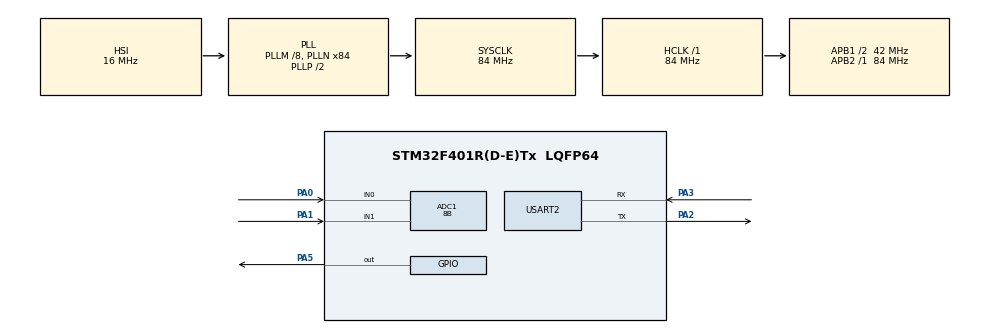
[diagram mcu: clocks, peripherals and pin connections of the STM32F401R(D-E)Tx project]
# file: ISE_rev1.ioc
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ADC1.Channel-7\#ChannelRegularConversion=ADC_CHANNEL_0
ADC1.Channel-8\#ChannelRegularConversion=ADC_CHANNEL_1
ADC1.DiscontinuousConvMode=ENABLE
ADC1.ExternalTrigConv=ADC_EXTERNALTRIGCONV_T3_TRGO
ADC1.NbrOfConversion=2
ADC1.NbrOfConversionFlag=1
ADC1.NbrOfDiscConversion=1
ADC1.Rank-7\#ChannelRegularConversion=1
ADC1.Rank-8\#ChannelRegularConversion=2
ADC1.Resolution=ADC_RESOLUTION_8B
ADC1.SamplingTime-7\#ChannelRegularConversion=ADC_SAMPLETIME_15CYCLES
ADC1.SamplingTime-8\#ChannelRegularConversion=ADC_SAMPLETIME_15CYCLES
ADC1.master=1
Mcu.Family=STM32F4
Mcu.Name=STM32F401R(D-E)Tx
Mcu.Package=LQFP64
NVIC.ADC_IRQn=true\:0\:0\:true\:false\:true\:true\:true
NVIC.PriorityGroup=NVIC_PRIORITYGROUP_1
NVIC.USART2_IRQn=true\:1\:0\:true\:false\:true\:true\:true
PA0-WKUP.Signal=ADCx_IN0
PA1.Signal=ADCx_IN1
PA2.Mode=Asynchronous
PA2.Signal=USART2_TX
PA3.Mode=Asynchronous
PA3.Signal=USART2_RX
PA5.Signal=GPIO_Output
ProjectManager.HeapSize=0x200
ProjectManager.StackSize=0x400
ProjectManager.TargetToolchain=STM32CubeIDE
RCC.48MHZClocksFreq_Value=24000000
RCC.AHBFreq_Value=84000000
RCC.APB1CLKDivider=RCC_HCLK_DIV2
RCC.APB1Freq_Value=42000000
RCC.APB1TimFreq_Value=84000000
RCC.APB2Freq_Value=84000000
RCC.APB2TimFreq_Value=84000000
RCC.CortexFreq_Value=84000000
RCC.HCLKFreq_Value=84000000
RCC.HSE_VALUE=8000000
RCC.HSI_VALUE=16000000
RCC.LSE_VALUE=32768
RCC.PLLM=8
RCC.PLLN=84
RCC.PLLQ=7
RCC.SYSCLKFreq_VALUE=84000000
RCC.SYSCLKSource=RCC_SYSCLKSOURCE_PLLCLK
RCC.VCOOutputFreq_Value=168000000
SH.ADCx_IN0.0=ADC1_IN0,IN0
SH.ADCx_IN1.0=ADC1_IN1,IN1
TIM3.Period=500
TIM3.Prescaler=168
TIM3.TIM_MasterOutputTrigger=TIM_TRGO_UPDATE
TIM3.TIM_MasterSlaveMode=TIM_MASTERSLAVEMODE_ENABLE
USART2.VirtualMode=VM_ASYNC
VP_TIM3_VS_ClockSourceINT.Mode=Internal
board=NUCLEO-F401RE

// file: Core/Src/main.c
/* USER CODE BEGIN Header */
/**
  ******************************************************************************
  * @file           : main.c
  * @brief          : Main program body
  ******************************************************************************
  * @attention
  *
  * <h2><center>&copy; Copyright (c) 2021 STMicroelectronics.
  * All rights reserved.</center></h2>
  *
  * This software component is licensed by ST under BSD 3-Clause license,
  * the "License"; You may not use this file except in compliance with the
  * License. You may obtain a copy of the License at:
  *                        opensource.org/licenses/BSD-3-Clause
  *
  ******************************************************************************
  */
/* USER CODE END Header */
#include "main.h"

/* USER CODE BEGIN Includes */
#include <stdio.h>
#include <string.h>
#include <stdint.h>
#include "transmission.h"
#include "reception.h"
#include "peripheral_configuration.h"
/* USER CODE END Includes */

ADC_HandleTypeDef hadc1;

TIM_HandleTypeDef htim3;

UART_HandleTypeDef huart2;

/* USER CODE BEGIN PV */
// Variabili Globali

// Buffer circolare per il canale 0
uint8_t circular_buffer0[MAX_SIZE_BUFFER];

// Buffer circolare per il canale 1
uint8_t circular_buffer1[MAX_SIZE_BUFFER];

// Variabile per il singolo byte ricevuto da seriale
uint8_t data_received;

// Indice per il controllo del canale appena convertito
int channel_index=0;

// Indice per la posizione del prossimo campione nel buffer 0
int sample_index0=0;

// Indice per la posizione del prossimo campione nel buffer 1
int sample_index1=0;

// Variabile per il trigger level (inizializzazione al valore di default)
int trigger_level=128;

// Variabile per il trigger type (inizializzazione al valore di default = AUTO)
int trigger_type=0;

// Variabile per il sampling time (inizializzazione al valore di default = 1 ms)
int sampling_time=1000000;

/*VARIABILI INTERRUPT ADC*/

// Indice che comunica quando iniziare la trasmissione (quando sono stati presi 255 campioni dopo aver trovato il trigger level)
int cntdown_transmission_trigger_level=256;

// Indice che comunica quando iniziare la trasmissione (quando sono stati presi 512 campioni (caso in cui non viene superato il trigger level e siamo in AUTO))
int cntdown_transmission_hz_sweep=256;

// Variabile di appoggio per l'identificazione della singola trasmissione (SINGLE MODE)
int one_shot_transmission=0;

// Flag per capire se il dato è stato trasmesso correttamente
int correctlySentData=0;

// Contatore per l'horizontal sweep time
int hz_sweep_counter=0;

// Variabile per controllare se ho superato il trigger level partendo da un valore inferiore ad esso (inizializzata a 256 per far si che all'accensione non sia superato automaticamente il trigger level per un valore campionato superiore)
int previous_value=256;

// Flag per il controllo della condizione di trigger dovuta al superamento dell'horizontal sweep time
int flag_hz_sweep=0;

// Flag per il controllo della condizione di trigger dovuta al superamento del trigger level
int flag_trigger_level=0;

// Acknowledge per avvisare il main loop del riempimento del buffer in seguito al superamento del trigger level
int ack_trigger_level=0;

// Acknowledge per avvisare il main loop del riempimento del buffer in seguito al raggiungimento dell'horizontal sweep
int ack_hz_sweep=0;

// Struttura dati utilizzata per la ricezione
struct_datiR reception_parameters;
/* USER CODE END PV */

void SystemClock_Config(void);
static void MX_GPIO_Init(void);
static void MX_ADC1_Init(void);
static void MX_USART2_UART_Init(void);
static void MX_TIM3_Init(void);

int main(void)
{

  /* MCU Configuration--------------------------------------------------------*/

  /* Reset of all peripherals, Initializes the Flash interface and the Systick. */
  HAL_Init();

  /* Configure the system clock */
  SystemClock_Config();

  /* Initialize all configured peripherals */
  MX_GPIO_Init();
  MX_ADC1_Init();
  MX_USART2_UART_Init();
  MX_TIM3_Init();
  /* USER CODE BEGIN 2 */
  // Comando per far partire l'ADC in modalita' interrupt
  HAL_ADC_Start_IT(&hadc1);
  // Comando per far partire il timer 3 per la generazione del trigger per l'ADC
  HAL_TIM_Base_Start(&htim3); //faccio partire il timer

  // Comando per l'impostazione della variabile di ricezione per la trasmissione seriale
  HAL_UART_Receive_IT(&huart2, &data_received, 1);

  // Funzione di inizializzazione per la struttura precedentemente dichiarata
  init_function(&reception_parameters);

  /* USER CODE END 2 */

  /* Infinite loop */
  while (1)
  {

    /* USER CODE BEGIN 3 */

      //Switch utilizzato per la trasmissione
      switch (trigger_type)
      {

      /*MODALITA AUTO*/
      case 0:
    	  // Controllo se è arrivato l'ack dovuto al trigger level dall'ADC
          if(ack_trigger_level==1)
              // Trasmetto se il countdown del trigger level è arrivato a '0'
          {

              /*DISABILITO IL TIMER DURANTE LA TRASMISSIONE*/
              HAL_TIM_Base_Stop(&htim3);

              /*EFFETTUO LA TRASMISSIONE DEL BUFFER*/
              buffer_transmission(&huart2, circular_buffer0, circular_buffer1, &correctlySentData); //effettuo la trasmissione del buffer

              // Se vengo dalla modalità single, resetto il flag per la singola trasmissione
              one_shot_transmission=0;

              /*RIPRISTINO ACK TRIGGER LEVEL*/
              ack_trigger_level=0;

              sample_index0=0;
              sample_index1=0;

              // Reinizializzo il flag per la corretta trasmissione
              if(correctlySentData == 1)
              {
                  correctlySentData = 0;
              }

              /*FACCIO RIPARTIRE IL TIMER*/
              HAL_TIM_Base_Start(&htim3);
          }
          // Controllo se è arrivato l'ack dovuto al horizontal sweep dall'ADC
          else if(ack_hz_sweep==1)

          {
              /*DISABILITO IL TIMER DURANTE LA TRASMISSIONE*/
              HAL_TIM_Base_Stop(&htim3);

              /*EFFETTUO LA TRASMISSIONE DEL BUFFER*/
              buffer_transmission(&huart2, circular_buffer0, circular_buffer1, &correctlySentData); //effettuo la trasmissione del buffer

              // Se vengo dalla modalità single, resetto il flag per la singola trasmissione
              one_shot_transmission=0;

              /*RIPRISTINO ACK HORZIONTAL SWEEP*/
              ack_hz_sweep=0;

              sample_index0=0;
              sample_index1=0;

              // Reinizializzo il flag per la corretta trasmissione
              if(correctlySentData == 1)
              {
                  correctlySentData = 0;
              }

              /*FACCIO RIPARTIRE IL TIMER*/
              HAL_TIM_Base_Start(&htim3);
          }
          break;

      /*MODALITA NORMAL*/
      case 1:
    	  // Potendo arrivare qui dalla modalità AUTO, resettiamo l'eventuale ack derivato dall' horizontal sweep
          ack_hz_sweep=0;

          // Controllo se ho ricevuto un ack del trigger level dell'ADC
          if(ack_trigger_level==1)
          {
              /*DISABILITO IL TIMER DURANTE LA TRASMISSIONE*/
              HAL_TIM_Base_Stop(&htim3);

              /*EFFETTUO LA TRASMISSIONE DEL BUFFER*/
              buffer_transmission(&huart2, circular_buffer0, circular_buffer1, &correctlySentData); //effettuo la trasmissione del buffer

              // Se vengo dalla modalità single, resetto il flag per la singola trasmissione
              one_shot_transmission=0;

              /*RIPRISTINO ACK TRIGGER LEVEL*/
              ack_trigger_level=0;

              sample_index0=0;
              sample_index1=0;

              // Reinizializzo il flag per la corretta trasmissione
              if(correctlySentData == 1)
              {
                  correctlySentData = 0;
              }

              /*FACCIO RIPARTIRE IL TIMER*/
              HAL_TIM_Base_Start(&htim3);
          }
          break;

      case 2:
    	  // Potendo arrivare qui dalla modalità AUTO, resettiamo l'eventuale ack derivato dall' horizontal sweep
          ack_hz_sweep=0;

          // Controllo se è arrivato l'ack del trigger level e non ho ancora mai trasmesso il buffer
          if(ack_trigger_level==1 && one_shot_transmission==0)
          {
              /*DISABILITO IL TIMER DURANTE LA TRASMISSIONE*/
              HAL_TIM_Base_Stop(&htim3); //disabilito il timer per la trasmissione

              /*EFFETTUO LA TRASMISSIONE DEL BUFFER*/
              buffer_transmission(&huart2, circular_buffer0, circular_buffer1, &correctlySentData); //effettuo la trasmissione del buffer

              // Essendo in modalita' SINGLE, attivo questo flag per la singola trasmissione
              one_shot_transmission=1;

              /*RIPRISTINO ACK TRIGGER LEVEL*/
              ack_trigger_level=0;

              sample_index0=0;
              sample_index1=0;

              // Reinizializzo il flag per la corretta trasmissione
              if(correctlySentData == 1)
              {
                  correctlySentData = 0;
              }

              /*FACCIO RIPARTIRE IL TIMER*/
              HAL_TIM_Base_Start(&htim3);
          }
          break;
      case 3:

          // Se vengo dalla modalità single, resetto il flag per la singola trasmissione
          one_shot_transmission=0;

          break;
      default:
          break;
      }

      // Se ho riscontrato un errore, faccio togglar il led interno della scheda
      if(reception_parameters.check_error==1)
      {
          HAL_GPIO_TogglePin(GPIOA, GPIO_PIN_5);
          reception_parameters.check_error=0;
          reception_parameters.flag_asterisco=0;
          reception_parameters.flag_trigger=0;
          reception_parameters.flag_trigger_type=0;
          reception_parameters.flag_trigger_level=0;
          reception_parameters.flag_sampling=0;
          reception_parameters.flag_sampling_time=0;
          reception_parameters.returned_value=0;
          reception_parameters.index_hexadecimal=0;
          reception_parameters.flag_change_period=0;
      }
  }
  /* USER CODE END 3 */
}

void SystemClock_Config(void)
{
  RCC_OscInitTypeDef RCC_OscInitStruct = {0};
  RCC_ClkInitTypeDef RCC_ClkInitStruct = {0};

  /** Configure the main internal regulator output voltage
  */
  __HAL_RCC_PWR_CLK_ENABLE();
  __HAL_PWR_VOLTAGESCALING_CONFIG(PWR_REGULATOR_VOLTAGE_SCALE2);
  /** Initializes the RCC Oscillators according to the specified parameters
  * in the RCC_OscInitTypeDef structure.
  */
  RCC_OscInitStruct.OscillatorType = RCC_OSCILLATORTYPE_HSI;
  RCC_OscInitStruct.HSIState = RCC_HSI_ON;
  RCC_OscInitStruct.HSICalibrationValue = RCC_HSICALIBRATION_DEFAULT;
  RCC_OscInitStruct.PLL.PLLState = RCC_PLL_ON;
  RCC_OscInitStruct.PLL.PLLSource = RCC_PLLSOURCE_HSI;
  RCC_OscInitStruct.PLL.PLLM = 8;
  RCC_OscInitStruct.PLL.PLLN = 84;
  RCC_OscInitStruct.PLL.PLLP = RCC_PLLP_DIV2;
  RCC_OscInitStruct.PLL.PLLQ = 7;
  if (HAL_RCC_OscConfig(&RCC_OscInitStruct) != HAL_OK)
  {
    Error_Handler();
  }
  /** Initializes the CPU, AHB and APB buses clocks
  */
  RCC_ClkInitStruct.ClockType = RCC_CLOCKTYPE_HCLK|RCC_CLOCKTYPE_SYSCLK
                              |RCC_CLOCKTYPE_PCLK1|RCC_CLOCKTYPE_PCLK2;
  RCC_ClkInitStruct.SYSCLKSource = RCC_SYSCLKSOURCE_PLLCLK;
  RCC_ClkInitStruct.AHBCLKDivider = RCC_SYSCLK_DIV1;
  RCC_ClkInitStruct.APB1CLKDivider = RCC_HCLK_DIV2;
  RCC_ClkInitStruct.APB2CLKDivider = RCC_HCLK_DIV1;

  if (HAL_RCC_ClockConfig(&RCC_ClkInitStruct, FLASH_LATENCY_2) != HAL_OK)
  {
    Error_Handler();
  }
}

static void MX_ADC1_Init(void)
{

  ADC_ChannelConfTypeDef sConfig = {0};

  /** Configure the global features of the ADC (Clock, Resolution, Data Alignment and number of conversion)
  */
  hadc1.Instance = ADC1;
  hadc1.Init.ClockPrescaler = ADC_CLOCK_SYNC_PCLK_DIV4;
  hadc1.Init.Resolution = ADC_RESOLUTION_8B;
  hadc1.Init.ScanConvMode = ENABLE;
  hadc1.Init.ContinuousConvMode = DISABLE;
  hadc1.Init.DiscontinuousConvMode = ENABLE;
  hadc1.Init.NbrOfDiscConversion = 1;
  hadc1.Init.ExternalTrigConvEdge = ADC_EXTERNALTRIGCONVEDGE_RISING;
  hadc1.Init.ExternalTrigConv = ADC_EXTERNALTRIGCONV_T3_TRGO;
  hadc1.Init.DataAlign = ADC_DATAALIGN_RIGHT;
  hadc1.Init.NbrOfConversion = 2;
  hadc1.Init.DMAContinuousRequests = DISABLE;
  hadc1.Init.EOCSelection = ADC_EOC_SINGLE_CONV;
  if (HAL_ADC_Init(&hadc1) != HAL_OK)
  {
    Error_Handler();
  }
  /** Configure for the selected ADC regular channel its corresponding rank in the sequencer and its sample time.
  */
  sConfig.Channel = ADC_CHANNEL_0;
  sConfig.Rank = 1;
  sConfig.SamplingTime = ADC_SAMPLETIME_15CYCLES;
  if (HAL_ADC_ConfigChannel(&hadc1, &sConfig) != HAL_OK)
  {
    Error_Handler();
  }
  /** Configure for the selected ADC regular channel its corresponding rank in the sequencer and its sample time.
  */
  sConfig.Channel = ADC_CHANNEL_1;
  sConfig.Rank = 2;
  if (HAL_ADC_ConfigChannel(&hadc1, &sConfig) != HAL_OK)
  {
    Error_Handler();
  }

}

static void MX_TIM3_Init(void)
{

  TIM_ClockConfigTypeDef sClockSourceConfig = {0};
  TIM_MasterConfigTypeDef sMasterConfig = {0};

  htim3.Instance = TIM3;
  htim3.Init.Prescaler = 168;
  htim3.Init.CounterMode = TIM_COUNTERMODE_UP;
  htim3.Init.Period = 500;
  htim3.Init.ClockDivision = TIM_CLOCKDIVISION_DIV1;
  htim3.Init.AutoReloadPreload = TIM_AUTORELOAD_PRELOAD_DISABLE;
  if (HAL_TIM_Base_Init(&htim3) != HAL_OK)
  {
    Error_Handler();
  }
  sClockSourceConfig.ClockSource = TIM_CLOCKSOURCE_INTERNAL;
  if (HAL_TIM_ConfigClockSource(&htim3, &sClockSourceConfig) != HAL_OK)
  {
    Error_Handler();
  }
  sMasterConfig.MasterOutputTrigger = TIM_TRGO_UPDATE;
  sMasterConfig.MasterSlaveMode = TIM_MASTERSLAVEMODE_ENABLE;
  if (HAL_TIMEx_MasterConfigSynchronization(&htim3, &sMasterConfig) != HAL_OK)
  {
    Error_Handler();
  }

}

static void MX_USART2_UART_Init(void)
{

  huart2.Instance = USART2;
  huart2.Init.BaudRate = 115200;
  huart2.Init.WordLength = UART_WORDLENGTH_8B;
  huart2.Init.StopBits = UART_STOPBITS_1;
  huart2.Init.Parity = UART_PARITY_NONE;
  huart2.Init.Mode = UART_MODE_TX_RX;
  huart2.Init.HwFlowCtl = UART_HWCONTROL_NONE;
  huart2.Init.OverSampling = UART_OVERSAMPLING_16;
  if (HAL_UART_Init(&huart2) != HAL_OK)
  {
    Error_Handler();
  }

}

static void MX_GPIO_Init(void)
{
  GPIO_InitTypeDef GPIO_InitStruct = {0};

  /* GPIO Ports Clock Enable */
  __HAL_RCC_GPIOA_CLK_ENABLE();

  /*Configure GPIO pin Output Level */
  HAL_GPIO_WritePin(GPIOA, GPIO_PIN_5, GPIO_PIN_RESET);

  /*Configure GPIO pin : PA5 */
  GPIO_InitStruct.Pin = GPIO_PIN_5;
  GPIO_InitStruct.Mode = GPIO_MODE_OUTPUT_PP;
  GPIO_InitStruct.Pull = GPIO_NOPULL;
  GPIO_InitStruct.Speed = GPIO_SPEED_FREQ_LOW;
  HAL_GPIO_Init(GPIOA, &GPIO_InitStruct);

}

/* USER CODE BEGIN 4 */

void HAL_ADC_ConvCpltCallback (ADC_HandleTypeDef * hadc)
{

	uint8_t current_value=0;

	if(__HAL_ADC_GET_FLAG(hadc, ADC_FLAG_EOC)){ //controllo se l'interrupt è scaturito da una conversione

		/*OPERAZIONI SUL CANALE 0*/
		if(channel_index==0) //controllo se l'interrupt è avvenuto in seguito alla conversione del primo canale
		{
			current_value=HAL_ADC_GetValue(&hadc1); //memorizzo il valore convertito in una variabile

			/*CONTROLLO LA DIMENSIONE DEL BUFFER PER SAPERE SE DEVO SHIFTARE I CAMPIONI*/
			if(sample_index0==MAX_SIZE_BUFFER)//se il buffer è pieno effettuo lo shift di due posizioni di tutti i campioni precedenti
			{
				sample_index0=MAX_SIZE_BUFFER-1; //se si arriva a 1024, si ritorna a 1022
				for(int i=1; i<MAX_SIZE_BUFFER; i++) //shift del buffer circolare in base alla risoluzione della conversione esadecimale
				{
					circular_buffer0[i-1]=circular_buffer0[i];
				}
			}

			/*INSERISCO IL NUOVO CAMPIONE NEL BUFFER DEL CANALE 0*/
			circular_buffer0[sample_index0]=current_value;

			/*AGGIORNAMENTO DELLE VARIABILI NECESSARIO PER LE SUCCESSIVE ROUTINE DI INTERRUPT DELL'ADC*/
			sample_index0=sample_index0+1; //aggiorno l'indice del buffer
			channel_index=1; //aggiorno il canale: al prossimo ingresso nella routine di interrupt per l'EOC, ci sarà la conversione del canale 1

			/*VALUTARE SE INSERIRE UNA CONDIZIONE CHE BLOCCA LE SUCCESSIVE ISTRUZIONI NEL CASO IN CUI L'ACK NON SIA STATO RESETTATO*/
			if(ack_hz_sweep==0 && ack_trigger_level==0)
			{
				/*VALUTAZIONI DI TUTTE LE POSSIBILI CONDIZIONI DI TRIGGER*/
				if (flag_trigger_level==0) //se ho già superato il trigger level e sto facendo il countdown non devo entrare in questo if
				{
					if (current_value>=trigger_level && previous_value<trigger_level && sample_index0>=256)//se il valore precedente era minore del tr_level e il valore corrente è maggiore del tr_level è innescata la condizione di trigger
					{
						flag_trigger_level=1;
					}else if(flag_hz_sweep==0) //se non è ancora attiva la condizione di trigger dovuta al superamento del trigger level e non era precedentemente attiva la condizione di trigger dell'horizontal sweep devo verificare se ora ho oltrepassato la dinamica orizzontale
					{
						if(hz_sweep_counter>=256)
						{
							flag_hz_sweep=1;
						}
					}
				}
				hz_sweep_counter++; //incremento il valore dell'orizzontal sweep counter (la variabile mi serve per capire se ho oltrepassato la dinamica orizzontale)
				previous_value=current_value; //aggiorno la variabile previous value con il valore corrente letto (spostata)
			}

		/*OPERAZIONI SUL CANALE 1*/
		}else if(channel_index==1)
		{

			current_value=HAL_ADC_GetValue(&hadc1); //memorizzo il valore convertito in una variabile

			/*CONTROLLO LA DIMENSIONE DEL BUFFER PER SAPERE SE DEVO SHIFTARE I CAMPIONI*/
			if(sample_index1==MAX_SIZE_BUFFER)
				{
					sample_index1=MAX_SIZE_BUFFER-1; //se si arriva a 1024, si ritorna a 1022
					for(int i=1; i<MAX_SIZE_BUFFER; i++) //shift del buffer circolare in base alla risoluzione della conversione esadecimale
					{
						circular_buffer1[i-1]=circular_buffer1[i];
					}
				}

			/*INSERISCO IL NUOVO CAMPIONE NEL BUFFER DEL CANALE 1*/
			circular_buffer1[sample_index1]=current_value;

			/*AGGIORNAMENTO DELLE VARIABILI NECESSARIO PER LE SUCCESSIVE ROUTINE DI INTERRUPT DELL'ADC*/
			sample_index1=sample_index1+1;
			channel_index=0; //al prossimo ingresso nella routine di interrupt per l'EOC, ci sarà la conversione del canale 0 (modificato)

			/*VALUTARE SE INSERIRE UNA CONDIZIONE CHE BLOCCA LE SUCCESSIVE ISTRUZIONI NEL CASO IN CUI L'ACK NON SIA STATO RESETTATO*/
			if(ack_hz_sweep==0 && ack_trigger_level==0)
			{
				/*CONTROLLO SE IL CANALE 0 HA ATTIVO IL FLAG DI INTERRUPT E DECREMENTO EVENUTALMENTE I VARI COUNTDOWN*/
				if (flag_trigger_level==1) //controllo se era attivo il flag del trigger level perchè in caso devo decrementare il suo countdown e se sono arrivato a 0 setto l'ack per il main loop
				{
					cntdown_transmission_trigger_level--;
					if (cntdown_transmission_trigger_level==0)
					{
						ack_trigger_level=1; //setto un ack per il main loop in modo da avvisare del riempimento del buffer in seguito al superamento del trigger level
						trigger_configuration_reset(); // ripristino al valore inziale tutti i flag e i countdown
					}
				}else if(flag_hz_sweep==1)
				{
					cntdown_transmission_hz_sweep--;
					if (cntdown_transmission_hz_sweep==0)
					{
						ack_hz_sweep=1;
						trigger_configuration_reset();
					}
				}
			}

		}
	}
}

/*DEFINISCO LA FUNZIONE CHE CONSENTE DI RIPRSTINARE I VALORI DELLE VARIABILI DEL TRIGGER*/
void trigger_configuration_reset()
{
	flag_hz_sweep=0;
	flag_trigger_level=0;
	cntdown_transmission_trigger_level=256;
	cntdown_transmission_hz_sweep=256;
	hz_sweep_counter=0;
}

void HAL_UART_TxCpltCallback (UART_HandleTypeDef *huart)
{
correctlySentData = 1;
}

void HAL_UART_RxCpltCallback (UART_HandleTypeDef *huart)
{
	// Funzione per la ricezione
	received_commands(&reception_parameters, &trigger_type, &trigger_level, &sampling_time, data_received);

	if(reception_parameters.flag_cancelletto==1){
		// Se ho cambiato qualche configurazione, devo ricominciare a prendere i campioni da capo
		change_configuration(sampling_time, &htim3, &reception_parameters, &ack_hz_sweep, &ack_trigger_level, &sample_index0, &sample_index1);
		reception_parameters.flag_cancelletto=0;
	}

	// Dopo aver ricevuto un carattere, riattivo la ricezione per i prossimi
	HAL_UART_Receive_IT(&huart2, &data_received, 1);
}

/* USER CODE END 4 */

void Error_Handler(void)
{
}

/************************ (C) COPYRIGHT STMicroelectronics *****END OF FILE****/
